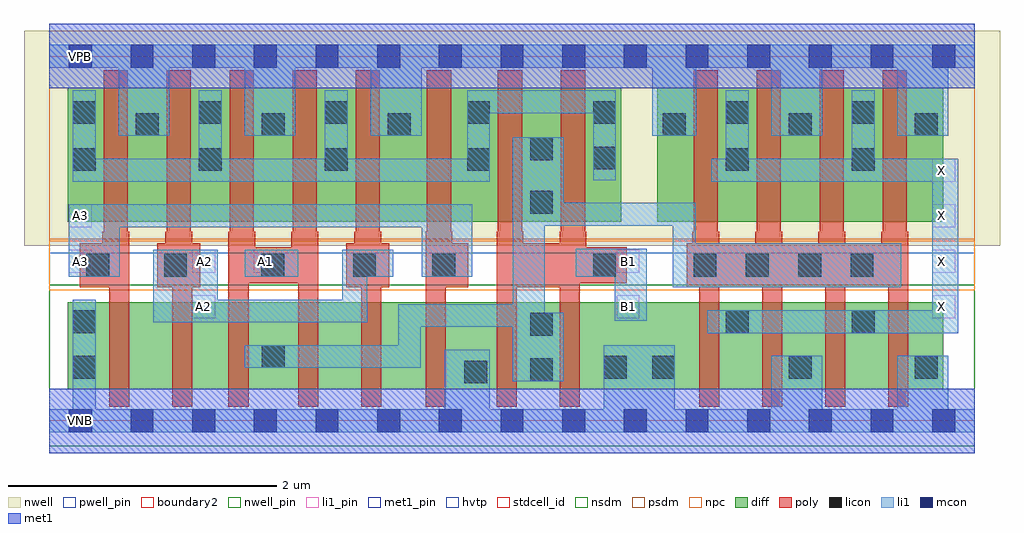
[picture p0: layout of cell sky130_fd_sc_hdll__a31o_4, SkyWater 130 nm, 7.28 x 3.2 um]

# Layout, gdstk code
import gdstk
lib = gdstk.Library(unit=1e-6, precision=1e-09)
def R(c, l, rs):  # rectangles x0, y0, x1, y1
    for r in rs: c.add(gdstk.rectangle(r[:2], r[2:], *l))
def A(c, l, x, y, w, h, nx, ny, dx, dy):  # array of equal rectangles
    R(c, l, [(x+i*dx, y+j*dy, x+i*dx+w, y+j*dy+h) for i in range(nx) for j in range(ny)])
def P(c, l, *ps):  # polygons
    for p in ps: c.add(gdstk.Polygon(p, *l))
nwell_pin = (64, 16)
nwell = (64, 20)
diff = (65, 20)
poly = (66, 20)
licon = (66, 44)
li1_pin = (67, 16)
li1 = (67, 20)
mcon = (67, 44)
met1_pin = (68, 16)
met1 = (68, 20)
hvtp = (78, 44)
stdcell_id = (81, 4)
nsdm = (93, 44)
psdm = (94, 20)
npc = (95, 20)
pwell_pin = (122, 16)
boundary2 = (236, 0)

sky130_fd_sc_hdll__a31o_ = lib.new_cell('sky130_fd_sc_hdll__a31o_4')
R(sky130_fd_sc_hdll__a31o_, nwell_pin, [(0.15,2.635,0.32,2.805)])
R(sky130_fd_sc_hdll__a31o_, nwell, [(-0.19,1.305,7.09,2.91)])
R(sky130_fd_sc_hdll__a31o_, diff, [(0.135,0.235,6.665,0.885), (0.135,1.485,4.265,2.485), (4.535,1.485,6.665,2.485)])
P(sky130_fd_sc_hdll__a31o_, poly, [(0.595,1.41),(0.585,1.41),(0.585,2.615),(0.405,2.615),(0.405,1.41),(0.395,1.41),(0.395,1.325),(0.225,1.325),(0.225,0.995),(0.445,0.995),(0.445,0.105),(0.595,0.105)],
  [(1.125,1.325),(1.065,1.325),(1.065,1.41),(1.055,1.41),(1.055,2.615),(0.875,2.615),(0.875,1.41),(0.865,1.41),(0.865,1.325),(0.805,1.325),(0.805,0.995),(0.915,0.995),(0.915,0.105),(1.065,0.105),(1.065,0.995),(1.125,0.995)],
  [(2.005,1.41),(1.995,1.41),(1.995,2.615),(1.815,2.615),(1.815,1.41),(1.805,1.41),(1.805,1.295),(1.535,1.295),(1.535,1.41),(1.525,1.41),(1.525,2.615),(1.345,2.615),(1.345,1.41),(1.335,1.41),(1.335,0.105),(1.485,0.105),(1.485,1.025),(1.855,1.025),(1.855,0.105),(2.005,0.105)],
  [(2.535,1.325),(2.475,1.325),(2.475,1.41),(2.465,1.41),(2.465,2.615),(2.285,2.615),(2.285,1.41),(2.275,1.41),(2.275,1.325),(2.215,1.325),(2.215,0.995),(2.325,0.995),(2.325,0.105),(2.475,0.105),(2.475,0.995),(2.535,0.995)],
  [(3.125,1.325),(3.005,1.325),(3.005,1.41),(2.995,1.41),(2.995,2.615),(2.815,2.615),(2.815,1.41),(2.805,1.41),(2.805,0.105),(2.955,0.105),(2.955,0.995),(3.125,0.995)],
  [(4.305,1.295),(4.005,1.295),(4.005,1.41),(3.995,1.41),(3.995,2.615),(3.815,2.615),(3.815,1.41),(3.805,1.41),(3.805,1.325),(3.535,1.325),(3.535,1.41),(3.525,1.41),(3.525,2.615),(3.345,2.615),(3.345,1.41),(3.335,1.41),(3.335,0.105),(3.485,0.105),(3.485,0.995),(3.805,0.995),(3.805,0.105),(3.955,0.105),(3.955,1.025),(4.305,1.025)],
  [(6.405,1.41),(6.395,1.41),(6.395,2.615),(6.215,2.615),(6.215,1.41),(6.205,1.41),(6.205,1.325),(5.935,1.325),(5.935,1.41),(5.925,1.41),(5.925,2.615),(5.745,2.615),(5.745,1.41),(5.735,1.41),(5.735,1.325),(5.465,1.325),(5.465,1.41),(5.455,1.41),(5.455,2.615),(5.275,2.615),(5.275,1.41),(5.265,1.41),(5.265,1.325),(4.995,1.325),(4.995,1.41),(4.985,1.41),(4.985,2.615),(4.805,2.615),(4.805,1.41),(4.795,1.41),(4.795,1.325),(4.755,1.325),(4.755,0.995),(4.845,0.995),(4.845,0.105),(4.995,0.105),(4.995,0.995),(5.315,0.995),(5.315,0.105),(5.465,0.105),(5.465,0.995),(5.785,0.995),(5.785,0.105),(5.935,0.105),(5.935,0.995),(6.255,0.995),(6.255,0.105),(6.405,0.105)])
A(sky130_fd_sc_hdll__a31o_, licon, 4.805, 1.075, 0.17, 0.17, 4, 1, 0.39, 0)
A(sky130_fd_sc_hdll__a31o_, licon, 0.175, 1.865, 0.17, 0.17, 3, 2, 0.94, 0.35)
A(sky130_fd_sc_hdll__a31o_, licon, 0.645, 2.125, 0.17, 0.17, 3, 1, 0.94, 0)
A(sky130_fd_sc_hdll__a31o_, licon, 4.575, 2.125, 0.17, 0.17, 3, 1, 0.94, 0)
R(sky130_fd_sc_hdll__a31o_, licon, [(3.095,0.28,3.265,0.45), (3.585,0.295,3.755,0.465), (0.175,0.315,0.345,0.485), (4.135,0.315,4.305,0.485), (4.495,0.315,4.665,0.485), (5.515,0.315,5.685,0.485), (6.455,0.315,6.625,0.485), (1.585,0.395,1.755,0.565), (3.585,0.635,3.755,0.805), (0.175,0.655,0.345,0.825), (5.045,0.655,5.215,0.825), (5.985,0.655,6.155,0.825), (0.275,1.075,0.445,1.245), (0.855,1.075,1.025,1.245), (1.58,1.075,1.75,1.245), (2.265,1.075,2.435,1.245), (2.855,1.075,3.025,1.245), (4.055,1.075,4.225,1.245), (3.585,1.545,3.755,1.715), (3.115,1.865,3.285,2.035), (5.045,1.865,5.215,2.035), (5.985,1.865,6.155,2.035), (4.055,1.875,4.225,2.045), (3.585,1.945,3.755,2.115), (3.115,2.215,3.285,2.385), (4.055,2.215,4.225,2.385), (5.045,2.215,5.215,2.385), (5.985,2.215,6.155,2.385)])
A(sky130_fd_sc_hdll__a31o_, li1_pin, 6.585, 0.765, 0.17, 0.17, 1, 4, 0, 0.34)
R(sky130_fd_sc_hdll__a31o_, li1_pin, [(1.065,0.765,1.235,0.935), (4.23,0.765,4.4,0.935), (0.145,1.105,0.315,1.275), (1.065,1.105,1.235,1.275), (1.525,1.105,1.695,1.275), (4.23,1.105,4.4,1.275), (0.145,1.445,0.315,1.615)])
R(sky130_fd_sc_hdll__a31o_, li1, [(1.455,1.075,1.855,1.275)])
P(sky130_fd_sc_hdll__a31o_, li1, [(6.9,0.085),(6.705,0.085),(6.705,0.485),(6.325,0.485),(6.325,0.085),(5.765,0.085),(5.765,0.485),(5.385,0.485),(5.385,0.085),(4.665,0.085),(4.665,0.565),(4.135,0.565),(4.135,0.085),(3.285,0.085),(3.285,0.53),(2.95,0.53),(2.95,0.085),(0.345,0.085),(0.345,0.905),(0.175,0.905),(0.175,0.085),(0,0.085),(0,-0.085),(6.9,-0.085)],
  [(6.9,2.805),(0,2.805),(0,2.635),(0.515,2.635),(0.515,2.125),(0.895,2.125),(0.895,2.635),(1.455,2.635),(1.455,2.125),(1.835,2.125),(1.835,2.635),(2.395,2.635),(2.395,2.125),(2.775,2.125),(2.775,2.635),(4.495,2.635),(4.495,2.125),(4.825,2.125),(4.825,2.635),(5.385,2.635),(5.385,2.125),(5.765,2.125),(5.765,2.635),(6.325,2.635),(6.325,2.125),(6.705,2.125),(6.705,2.635),(6.9,2.635)],
  [(2.565,1.275),(2.185,1.275),(2.185,0.905),(1.255,0.905),(1.255,1.275),(0.775,1.275),(0.775,0.735),(2.37,0.735),(2.37,1.075),(2.565,1.075)],
  [(6.78,1.955),(6.155,1.955),(6.155,2.465),(5.985,2.465),(5.985,1.955),(5.215,1.955),(5.215,2.465),(5.045,2.465),(5.045,1.955),(4.935,1.955),(4.935,1.785),(6.585,1.785),(6.585,0.825),(4.905,0.825),(4.905,0.655),(6.78,0.655)],
  [(6.355,1.325),(4.82,1.325),(4.82,1.625),(3.835,1.625),(3.835,2.115),(3.455,2.115),(3.455,0.87),(2.6,0.87),(2.6,0.565),(1.455,0.565),(1.455,0.395),(2.77,0.395),(2.77,0.7),(3.455,0.7),(3.455,0.295),(3.835,0.295),(3.835,0.805),(3.695,0.805),(3.695,1.455),(4.65,1.455),(4.65,0.995),(6.355,0.995)],
  [(4.455,1.285),(3.925,1.285),(3.925,1.075),(4.215,1.075),(4.215,0.745),(4.455,0.745)],
  [(4.225,2.465),(3.115,2.465),(3.115,1.955),(2.225,1.955),(2.225,2.465),(2.055,2.465),(2.055,1.955),(1.285,1.955),(1.285,2.465),(1.115,2.465),(1.115,1.955),(0.345,1.955),(0.345,2.465),(0.175,2.465),(0.175,1.785),(3.285,1.785),(3.285,2.295),(4.055,2.295),(4.055,1.795),(4.225,1.795)],
  [(3.155,1.615),(0.145,1.615),(0.145,1.075),(0.525,1.075),(0.525,1.445),(2.775,1.445),(2.775,1.075),(3.155,1.075)])
A(sky130_fd_sc_hdll__a31o_, mcon, 0.145, -0.085, 0.17, 0.17, 15, 2, 0.46, 2.72)
R(sky130_fd_sc_hdll__a31o_, met1_pin, [(0.15,-0.085,0.32,0.085), (0.15,2.635,0.32,2.805)])
R(sky130_fd_sc_hdll__a31o_, met1, [(0,-0.24,6.9,0.24), (0,2.48,6.9,2.96)])
R(sky130_fd_sc_hdll__a31o_, hvtp, [(0,1.25,6.9,2.72)])
R(sky130_fd_sc_hdll__a31o_, stdcell_id, [(0,0,6.9,2.72)])
R(sky130_fd_sc_hdll__a31o_, nsdm, [(0,-0.19,6.9,1.015)])
R(sky130_fd_sc_hdll__a31o_, psdm, [(0,1.355,6.9,2.91)])
R(sky130_fd_sc_hdll__a31o_, npc, [(0,0.975,6.9,1.345)])
R(sky130_fd_sc_hdll__a31o_, pwell_pin, [(0.15,-0.085,0.32,0.085)])
R(sky130_fd_sc_hdll__a31o_, boundary2, [(0,0,6.9,2.72)])
sky130_fd_sc_hdll__a31o_.add(gdstk.Label('B1', (4.32,0.85), layer=67, texttype=5))
sky130_fd_sc_hdll__a31o_.add(gdstk.Label('A2', (1.15,0.85), layer=67, texttype=5))
sky130_fd_sc_hdll__a31o_.add(gdstk.Label('A3', (0.23,1.53), layer=67, texttype=5))
sky130_fd_sc_hdll__a31o_.add(gdstk.Label('A1', (1.61,1.19), layer=67, texttype=5))
sky130_fd_sc_hdll__a31o_.add(gdstk.Label('A3', (0.23,1.19), layer=67, texttype=5))
sky130_fd_sc_hdll__a31o_.add(gdstk.Label('B1', (4.32,1.19), layer=67, texttype=5))
sky130_fd_sc_hdll__a31o_.add(gdstk.Label('X', (6.655,1.19), layer=67, texttype=5))
sky130_fd_sc_hdll__a31o_.add(gdstk.Label('X', (6.655,0.85), layer=67, texttype=5))
sky130_fd_sc_hdll__a31o_.add(gdstk.Label('X', (6.655,1.87), layer=67, texttype=5))
sky130_fd_sc_hdll__a31o_.add(gdstk.Label('A2', (1.155,1.19), layer=67, texttype=5))
sky130_fd_sc_hdll__a31o_.add(gdstk.Label('X', (6.655,1.53), layer=67, texttype=5))
sky130_fd_sc_hdll__a31o_.add(gdstk.Label('VNB', (0.23,0), layer=64, texttype=59))
sky130_fd_sc_hdll__a31o_.add(gdstk.Label('VPB', (0.23,2.72), layer=64, texttype=5))
sky130_fd_sc_hdll__a31o_.add(gdstk.Label('VGND', (0.23,0), layer=68, texttype=5))
sky130_fd_sc_hdll__a31o_.add(gdstk.Label('VPWR', (0.23,2.72), layer=68, texttype=5))

lib.write_gds('sky130_fd_sc_hdll__a31o_4.gds')
